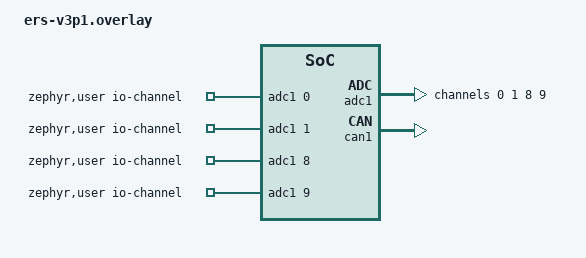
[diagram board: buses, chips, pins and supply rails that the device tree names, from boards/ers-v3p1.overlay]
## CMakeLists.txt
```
# Portland State Aerospace Society (c) 2025
#
# SPDX-License-Identifier: Apache-2.0

cmake_minimum_required(VERSION 3.20.0)

# execute_process(
#     COMMAND git rev-parse --show-toplevel
#     OUTPUT_VARIABLE ERS_REPO_ROOT
#     OUTPUT_STRIP_TRAILING_WHITESPACE
#     COMMAND_ERROR_IS_FATAL ANY
# )

set(CONF_FILE prj.conf ers-log-levels.conf)

find_package(Zephyr REQUIRED HINTS $ENV{ZEPHYR_BASE})
project(ers_drogue_board)

target_include_directories(app PRIVATE
    include
    # ${ERS_REPO_ROOT}/shell-module/include
    shell-module/include
)

target_sources(app PRIVATE
    src/adc.c
    src/can.c
    src/dac.c
    src/gpio-in.c
    src/keeper.c
    src/main.c
    src/shell-support.c
)
```

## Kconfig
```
module = ADC
module-str = ADC module for ERS firemware
source "subsys/logging/Kconfig.template.log_config"

module = ERS_ADC
module-str = ADC module for ERS firemware
source "subsys/logging/Kconfig.template.log_config"

# Following Kconfig inclusion needed to support Zephyr logging template macros
source "Kconfig.zephyr"

# ERS application specific
rsource "Kconfig.can"
```

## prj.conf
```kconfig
# PSAS Electromechanical Recovery System (ERS) firmware

CONFIG_GPIO=y
CONFIG_ADC=y

# CAN bus related
CONFIG_POLL=y
CONFIG_CAN=y
CONFIG_CAN_INIT_PRIORITY=80
CONFIG_CAN_MAX_FILTER=5

CONFIG_SHELL=y
CONFIG_CAN_SHELL=y
CONFIG_DEVICE_SHELL=y

CONFIG_STATS=y
CONFIG_STATS_NAMES=y
CONFIG_STATS_SHELL=y
CONFIG_CAN_STATS=y

CONFIG_LOOPBACK_MODE=n
CONFIG_SAMPLE_CAN_COUNTER_LOG_LEVEL_INF=y
```

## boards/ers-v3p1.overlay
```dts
/**
 * PSAS ERS board firmware
 */

&gpioa {
        status = "okay";
};

&gpiob {
        status = "okay";
};

/ {
        zephyr,user {
                /* adjust channel number according to pinmux in board.dts */
                io-channels = <&adc1 0>, <&adc1 1>, <&adc1 8>, <&adc1 9>; 
        };
};

&adc1 {
        #address-cells = <1>;
        #size-cells = <0>;

        channel@0 {
                reg = <0>;
                zephyr,gain = "ADC_GAIN_1";
                zephyr,reference = "ADC_REF_INTERNAL";
                zephyr,acquisition-time = <ADC_ACQ_TIME_DEFAULT>;
                zephyr,resolution = <12>;
        };

        channel@1 {
                reg = <1>;
                zephyr,gain = "ADC_GAIN_1";
                zephyr,reference = "ADC_REF_INTERNAL";
                zephyr,acquisition-time = <ADC_ACQ_TIME_DEFAULT>;
                zephyr,resolution = <12>;
        };

        channel@8 {
                reg = <8>;
                zephyr,gain = "ADC_GAIN_1";
                zephyr,reference = "ADC_REF_INTERNAL";
                zephyr,acquisition-time = <ADC_ACQ_TIME_DEFAULT>;
                zephyr,resolution = <12>;
        };

        channel@9 {
                reg = <9>;
                zephyr,gain = "ADC_GAIN_1";
                zephyr,reference = "ADC_REF_INTERNAL";
                zephyr,acquisition-time = <ADC_ACQ_TIME_DEFAULT>;
                zephyr,resolution = <12>;
        };
};

&can1 {
        status = "okay";
};

/ {
        zephyr,user {
                dac = <&dac1>;
                dac-channel-id = <1>;
                dac-resolution = <12>;
        };
};
```

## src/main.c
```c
/*
 * Copyright (c) 2025 Portland State Aerospace Society
 *
 * SPDX-License-Identifier: Apache-2.0
 */

#include <stdio.h>

#include <zephyr/kernel.h>
#include <zephyr/logging/log.h>

#include <arbiter.h>
#include <ers-adc.h>
#include <ers-can.h>
#include <ers-dac.h>
#include <gpio-in.h>
#include <keeper.h>
#include <shell-support.h>

LOG_MODULE_REGISTER(ers_main, LOG_LEVEL_INF);

//----------------------------------------------------------------------
// - SECTION - pound defines
//----------------------------------------------------------------------

#define ERS_MAIN_LOOP_PERIOD_MS 500

//----------------------------------------------------------------------
// - SECTION - routines
//----------------------------------------------------------------------

int main(void)
{
	static uint32_t loop_count = 0;
	int32_t rc = 0;

        rc = ers_init_gpio_in();
	LOG_INF("GPIO input pin initialization returns %d", rc);

	rc = adc_init();
	LOG_INF("ADC init code returns %d", rc);

	rc = ers_init_dac();
	LOG_INF("DAC init code returns %d", rc);

// TODO [ ] Create thread for CAN init routine which entails a `while (1)`
//  construct.
	rc = ers_init_can();
	LOG_INF("ERS CAN module init returns %d", rc);

        rc = ers_init_shell_support();
	LOG_INF("ERS command initialization returns %d", rc);

	rc = ers_init_arbiter();
	LOG_INF("ERS arbitration module init returns %d", rc);

	LOG_INF("main() entering 'while (1)' loop . . .");

	while (1)
	{
		loop_count++;
		ek_get_sys_diag_mode(&rc);
		if (rc > 0)
		{
			LOG_INF("- MARK -");
			// Note appears that a = hall1, b = hall2, c = battery, d = motor_isense
			uint32_t a, b, c, d;
			ekget_batt_read(&a);
			ekget_motor_isense(&b);
			ekget_hall_1(&c);
			ekget_hall_2(&d);
			LOG_INF("batt, motor, hall1, hall2: %u, %u, %u, %u", a, b, c, d);
		}
		k_msleep(ERS_MAIN_LOOP_PERIOD_MS);
	}

	return 0;
}
```

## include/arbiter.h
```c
#ifndef ERS_ARBITER_H
#define ERS_ARBITER_H

#include <zephyr/shell/shell.h>

enum hall_sensor_state {
	HALL_OUTPUT_UNDER_VOLTAGE,
	HALL_OUTPUT_INACTIVE,
	HALL_OUTPUT_BETWEEN,
	HALL_OUTPUT_ACTIVE,
	HALL_OUTPUT_OVER_VOLTAGE,
	HALL_OUTPUT_UNKNOWN
};

enum lock_ring_position {
	RING_LOCKED,
	RING_BETWEEN_L_AND_U,
	RING_UNLOCKED,
	RING_LOCKED_FULLY_QUALIFIED,
	RING_BETWEEN_FULLY_QUALIFIED,
	RING_UNLOCKED_FULLY_QUALIFIED,
	RING_POSITION_UNKNOWN
};

int32_t ers_init_arbiter(void);

void arbiter_set_v_under_cutoff(const uint32_t value);
void arbiter_set_inactive_cutoff(const uint32_t value);
void arbiter_set_between_cutoff(const uint32_t value);
void arbiter_set_active_cutoff(const uint32_t value);

void arbiter_get_v_under_cutoff(uint32_t *value);
void arbiter_get_inactive_cutoff(uint32_t *value);
void arbiter_get_between_cutoff(uint32_t *value);
void arbiter_get_active_cutoff(uint32_t *value);

void shell_wrapper_set_v_under_cutoff(const struct shell *shell, size_t argc, char **argv);
void shell_wrapper_set_inactive_cutoff(const struct shell *shell, size_t argc, char **argv);
void shell_wrapper_set_between_cutoff(const struct shell *shell, size_t argc, char **argv);
void shell_wrapper_set_active_cutoff(const struct shell *shell, size_t argc, char **argv);

void arbiter_show_hall_state_cutoffs(const struct shell *shell);

// TODO [ ] add API to restore default Hall state cutoff values

int32_t arbiter_determine_ring_state(enum lock_ring_position ring_position);

#endif // ERS_ARBITER_H
```

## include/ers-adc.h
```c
#ifndef ADC_INIT
#define ADC_INIT

#include <zephyr/shell/shell.h>

int32_t adc_init(void);

int32_t cmd_ers_read_adc_all(const struct shell *shell);

int32_t cmd_ers_read_adc_in0(const struct shell *shell);

#endif
```

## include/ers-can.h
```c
#ifndef ERS_CAN_INIT
#define ERS_CAN_INIT

int ers_init_can(void);

#endif // ERS_CAN_INIT
```

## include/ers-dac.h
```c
#ifndef ERS_DAC_H
#define ERS_DAC_H

int32_t ers_init_dac(void);

#endif // ERS_DAC_H
```

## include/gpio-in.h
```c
#ifndef GPIO_IN_H
#define GPIO_IN_H

int32_t ers_init_gpio_in(void);

#endif // GPIO_IN_H
```

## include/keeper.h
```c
#ifndef ERS_KEEPER_H
#define ERS_KEEPER_H

// Note, next two enumeration names refer to ADC values and not channels, as
// two values per active channel are stored:  (1) ADC counts and (2) reading
// converted to millivolts.

// Note, these enum values are used in a switch construct, so that they serve as
// something like an index.

enum ers_adc_values {
        ADC_READING_BATT_READ,
        ADC_READING_MOTOR_ISENSE,
        ADC_READING_HALL_1,
        ADC_READING_HALL_2,
        ADC_CHANNEL_COUNT
};

enum ers_adc_values_in_mv {
        ADC_READING_BATT_READ_MV = ADC_CHANNEL_COUNT,
        ADC_READING_MOTOR_ISENSE_MV,
        ADC_READING_HALL_1_MV,
        ADC_READING_HALL_2_MV,
};

#define IDX_START_MV_READINGS ADC_CHANNEL_COUNT

// Module init API

int32_t ers_init_keeper(void);

// Digital inputs

void ekset_iso_drogue(const uint32_t value);
void ekset_iso_main(const uint32_t value);
void ekset_not_umb_on(const uint32_t value);
void ekset_not_motor_faila(const uint32_t value);

void ekget_iso_drogue(uint32_t* value);
void ekget_iso_main(uint32_t* value);
void ekget_not_umb_on(uint32_t* value);
void ekget_not_motor_faila(uint32_t* value);

// Analog inputs

void ekset_batt_read(const uint32_t value);
void ekset_motor_isense(const uint32_t value);
void ekset_hall_1(const uint32_t value);
void ekset_hall_2(const uint32_t value);

void ekset_batt_read_mv(const uint32_t value);
void ekset_motor_isense_mv(const uint32_t value);
void ekset_hall_1_mv(const uint32_t value);
void ekset_hall_2_mv(const uint32_t value);

void ekset_batt_read_dv(const uint32_t value);

/**
 * @return 0 on success to obtain mutex and to set sensor values
 * @return -ESRCH when module not initialized
 */

int32_t ekset_both_hall_sensors(const uint32_t value_1, const uint32_t value_2);

/**
 * @brief API to set any one of ADC channel readings
 */

int32_t ekset_adc_value(const enum ers_adc_values idx, const uint32_t value);

/**
 * @brief API to set any one of ADC channel readings converted to millivolts
 */

int32_t ekset_adc_value_in_mv(const enum ers_adc_values_in_mv idx, const uint32_t val);

void ekget_batt_read(uint32_t* value);
void ekget_motor_isense(uint32_t* value);
void ekget_hall_1(uint32_t* value);
void ekget_hall_2(uint32_t* value);

void ekget_batt_read_mv(uint32_t* value);
void ekget_motor_isense_mv(uint32_t* value);
void ekget_hall_1_mv(uint32_t* value);
void ekget_hall_2_mv(uint32_t* value);

void ekget_batt_read_dv(uint32_t* value);

/**
 * @return 0 on success to obtain mutex and to get sensor values
 * @return -ESRCH when module not initialized
 */
int32_t ekget_both_hall_sensors(uint32_t *value_1, uint32_t *value_2);

// Off-chip peripherals and system statae

void ekset_ring_status(const uint32_t value);
void ekset_batt_ok(const uint32_t value);
void ekset_shore_power_ok(const uint32_t value);
void ekset_can_bus_ok(const uint32_t value);
void ekset_ready_state(const uint32_t value);

void ekget_ring_status(uint32_t* value);
void ekget_batt_ok(uint32_t* value);
void ekget_shore_power_ok(uint32_t* value);
void ekget_can_bus_ok(uint32_t* value);
void ekget_ready_state(uint32_t* value);

// ERS diagnostics

void ek_sys_diag_periodic(void);
void ek_sys_diag_quiet(void);
void ek_get_sys_diag_mode(uint32_t* value);

#endif // ERS_KEEPER_H
```

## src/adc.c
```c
/*
 * Copyright (c) 2020 Libre Solar Technologies GmbH
 * Copyright (c) 2025 Portland State Aerospace Society
 *
 * SPDX-License-Identifier: Apache-2.0
 */

#include <inttypes.h>
#include <stddef.h>
#include <stdint.h>

#include <zephyr/device.h>
#include <zephyr/devicetree.h>
#include <zephyr/drivers/adc.h>
#include <zephyr/kernel.h>
// #include <zephyr/sys/printk.h>
#include <zephyr/sys/util.h>
#include <zephyr/shell/shell.h>

#include <zephyr/logging/log.h>
LOG_MODULE_REGISTER(ers_adc, CONFIG_ERS_ADC_LOG_LEVEL);

#include "keeper.h"

//----------------------------------------------------------------------
// - SECTION - pound defines
//----------------------------------------------------------------------

#define ADC_THREAD_STACK_SIZE 512
#define ADC_THREAD_PRIORITY 3
#define ADC_READ_PERIOD_MS 10

#undef DEV_ERS_ADC_REGULAR_REPORTING

// #define ERS_ADC_READ_TIMEOUT 1500
// static struct k_timeout_t ers_adc_read_timeout K_MSEC(ERS_ADC_READ_TIMEOUT);

//----------------------------------------------------------------------
// - SECTION - file scoped
//----------------------------------------------------------------------

#if !DT_NODE_EXISTS(DT_PATH(zephyr_user)) || \
    !DT_NODE_HAS_PROP(DT_PATH(zephyr_user), io_channels)
#error "No suitable devicetree overlay specified"
#endif

#define DT_SPEC_AND_COMMA(node_id, prop, idx) \
    ADC_DT_SPEC_GET_BY_IDX(node_id, idx),

/* Data of ADC io-channels specified in devicetree. */
static const struct adc_dt_spec adc_channels[] = {
    DT_FOREACH_PROP_ELEM(DT_PATH(zephyr_user), io_channels,
                 DT_SPEC_AND_COMMA)
};

// TODO [ ] Compare thread configuration code in can.c with what is here:
struct k_thread adc_thread_data;

K_THREAD_STACK_DEFINE(adc_thread_stack, ADC_THREAD_STACK_SIZE);

struct k_mutex adc_mtx;

static uint32_t hall_adc_count_1_fs = 0;
static uint32_t hall_adc_count_2_fs = 0;

//----------------------------------------------------------------------
// - SECTION - routines
//----------------------------------------------------------------------

int32_t cmd_ers_read_adc_in0(const struct shell *shell)
{
	shell_fprintf(shell, SHELL_NORMAL, "stub function for read ADC in0\n");
        return 0;
}

// TODO [x] Amend the "read ADC all" command to accept a range of channels,
//   to support the reading of one channel with the same routine.

// TODO [ ] Add local static vars for Hall sensor readings, so they may be
//   passed as a pair to keeper module.

int32_t adc_read_channels(const enum ers_adc_values idx_begin,
			  const enum ers_adc_values idx_end)
{
        int32_t rc = k_mutex_lock(&adc_mtx, K_MSEC(1500));
	if (rc != 0)
	{
		LOG_ERR("Failed to lock ADC read channels mutex, error %d", rc);
		return rc;
	}

	if ((idx_begin < 0) || (idx_end > ARRAY_SIZE(adc_channels)))
	{
		LOG_ERR("Asked to read ADC channel out of range!");
		LOG_ERR("One of begin %d and end %d out of range %d..%d",
			idx_begin, idx_end, 0, ARRAY_SIZE(adc_channels));
		return -EINVAL;
	}

        uint32_t count = 0;
        uint16_t buf;
        struct adc_sequence sequence = { 
                .buffer = &buf,
                /* buffer size in bytes, not number of samples */
                .buffer_size = sizeof(buf),
        };

#if DEV_ERS_ADC_REGULAR_REPORTING
        LOG_INF("ADC reading[%u]:", count++);
#endif
        for (size_t i = 0U; i < ARRAY_SIZE(adc_channels); i++)
        {
                int32_t val_mv;

#if DEV_ERS_ADC_REGULAR_REPORTING
                LOG_INF("- %s, channel %d: ",
                             adc_channels[i].dev->name,
                             adc_channels[i].channel_id);
#endif

                (void)adc_sequence_init_dt(&adc_channels[i], &sequence);

                rc = adc_read_dt(&adc_channels[i], &sequence);
                if (rc < 0)
                {
                        LOG_ERR("Could not read ADC channel, error (%d)", rc);
                        continue;
                }

		// Store ADC reading in ERS app "keeper" module:
		ekset_adc_value(i, (uint32_t)buf);

                /*
                 * If using differential mode, the 16 bit value
                 * in the ADC sample buffer should be a signed 2's
                 * complement value.
                 */
                if (adc_channels[i].channel_cfg.differential)
                {
                        val_mv = (int32_t)((int16_t)buf);
                }
                else
                {
                        val_mv = (int32_t)buf;
                }

#if DEV_ERS_ADC_REGULAR_REPORTING
                LOG_INF("%"PRId32, val_mv);
#endif
                rc = adc_raw_to_millivolts_dt(&adc_channels[i], &val_mv);
                /* conversion to mV may not be supported, skip if not */
                if (rc < 0)
                {
                        LOG_WRN(" (value in mV not available)");
                }
                else
                {
			// Store ADC reading in ERS app "keeper" module:
			ekset_adc_value_in_mv((i + IDX_START_MV_READINGS), (uint32_t)buf);
#if DEV_ERS_ADC_REGULAR_REPORTING
                        LOG_INF(" = %"PRId32" mV", val_mv);
#endif
		}
	}

        rc = k_mutex_unlock(&adc_mtx);
	if (rc != 0)
	{
		LOG_ERR("Failed to unlock ADC read channels mutex, error %d", rc);
		return rc;
	}

	return rc;
}

void adc_thread_entry(void *arg1, void *arg2, void *arg3)
{
        ARG_UNUSED(arg1);
        ARG_UNUSED(arg2);
        ARG_UNUSED(arg3);

        int32_t rc = 0;

        /* Configure channels individually prior to sampling. */
        for (size_t i = 0U; i < ARRAY_SIZE(adc_channels); i++)
        {
                if (!adc_is_ready_dt(&adc_channels[i])) {
                        LOG_ERR("ADC controller device %s not ready\n", adc_channels[i].dev->name);
                        rc = -ENODEV;
                }

                rc = adc_channel_setup_dt(&adc_channels[i]);
                if (rc < 0) {
                        LOG_ERR("Could not setup channel #%d (%d)\n", i, rc);
                        rc = -EINVAL;
                }
        }

        while (1)
        {
#if DEV_ERS_ADC_REGULAR_REPORTING
                LOG_INF("ADC reading[%u]: (thread entry function)\n", count++);
#endif
		rc = adc_read_channels(ADC_READING_BATT_READ, ADC_READING_HALL_2);
                k_sleep(K_MSEC(ADC_READ_PERIOD_MS));
        }
}

int32_t adc_init(void)
{
	int32_t rc = 0;

	k_mutex_init(&adc_mtx);

        /* Configure channels individually prior to sampling. */
        for (size_t i = 0U; i < ARRAY_SIZE(adc_channels); i++) {
                if (!adc_is_ready_dt(&adc_channels[i])) {
                        LOG_ERR("ADC controller device %s not ready",
                                     adc_channels[i].dev->name);
                        rc = -ENODEV;
                }

                rc = adc_channel_setup_dt(&adc_channels[i]);
                if (rc < 0) {
                        LOG_ERR("Could not setup channel #%d (%d)", i, rc);
                        rc = -EINVAL;
                }
        }

	k_tid_t adc_tid = k_thread_create(&adc_thread_data, adc_thread_stack,
					  K_THREAD_STACK_SIZEOF(adc_thread_stack),
					  adc_thread_entry, NULL, NULL, NULL,
					  ADC_THREAD_PRIORITY, 0, K_NO_WAIT);
	if (!adc_tid)
	{
		LOG_ERR("ERROR spawning ADC thread\n");
	}
	else
	{
		LOG_INF("starting ADC thread . . .");
	}

	return rc;
}
```

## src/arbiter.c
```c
/*
 * Copyright (c) 2025 Portland State Aerospace Society
 *
 * SPDX-License-Identifier: Apache-2.0
 */

#include <stdlib.h>

#include <zephyr/kernel.h>
#include <zephyr/logging/log.h>
#include <zephyr/shell/shell.h>

LOG_MODULE_REGISTER(arbiter, LOG_LEVEL_INF);

#include <ers-can.h>
#include <ers-dac.h>
#include <gpio-in.h>
#include <keeper.h>
#include <arbiter.h>

//----------------------------------------------------------------------
// - SECTION - defines
//----------------------------------------------------------------------

/*
        Hall2 |
 Hall1        |   Over     Active    Between   Inactive    Under
--------------+------------------------------------------------------
Over          |   error    locked    betwen    unlocked    error
Active        |  unlocked   error    between   UNLOCKED   unlocked
Between       |   between  between   BETWEEN    between    between
Unactive      |   locked    LOCKED   between     error     locked
Under         |   error     locked   between   unlocked     error

ADC channels are 12-bit, hence ADC counts range 0..4095.  Define
"Under" through "Over" subranges:
*/

// clang-format off
// Note these values from Hessah of PSAS, cerca 2025-09-25.  Set of like data
// points from a second tested ERS board differ.
#define HALL_READING_V_UNDER_CUTOFF   600
#define HALL_READING_INACTIVE_CUTOFF  700
#define HALL_READING_BETWEEN_CUTOFF  1600
#define HALL_READING_ACTIVE_CUTOFF   3100
// ADC Hall sensor readings above HALL_READING_ACTIVE_CUTOFF considered "Over".
// clang-format on

#define BASE_10 10

#define ERS_ARBITER_SLEEP_PER_MS 2000

//----------------------------------------------------------------------
// - SECTION - file scoped
//----------------------------------------------------------------------

#define ARBITER_THREAD_STACK_SIZE 512
#define ARBITER_THREAD_PRIORITY 1
K_THREAD_STACK_DEFINE(arbiter_thread_stack, ARBITER_THREAD_STACK_SIZE);
struct k_thread arbiter_thread_data;

static atomic_t hall_reading_v_under_cutoff_fs = ATOMIC_INIT(HALL_READING_V_UNDER_CUTOFF);
static atomic_t hall_reading_inactive_cutoff_fs = ATOMIC_INIT(HALL_READING_INACTIVE_CUTOFF);
static atomic_t hall_reading_between_cutoff_fs = ATOMIC_INIT(HALL_READING_BETWEEN_CUTOFF);
static atomic_t hall_reading_active_cutoff_fs = ATOMIC_INIT(HALL_READING_ACTIVE_CUTOFF);

void arbiter_set_hall_state_cutoff_defaults(void);

//----------------------------------------------------------------------
// - SECTION - routines
//----------------------------------------------------------------------

// Routines to accept and store Hall sensor threasholds, such as under voltage.

// Setter functions for hall state cutuffs:

void arbiter_set_v_under_cutoff(const uint32_t value)
{
	atomic_set(&hall_reading_v_under_cutoff_fs, (atomic_val_t)value);
}

void arbiter_set_inactive_cutoff(const uint32_t value)
{
	atomic_set(&hall_reading_inactive_cutoff_fs, (atomic_val_t)value);
}

void arbiter_set_between_cutoff(const uint32_t value)
{
	atomic_set(&hall_reading_between_cutoff_fs, (atomic_val_t)value);
}

void arbiter_set_active_cutoff(const uint32_t value)
{
	atomic_set(&hall_reading_active_cutoff_fs, (atomic_val_t)value);
}

// TODO [ ] Add check of 'endptr' to determine whether we got valid numeric input,
//  in all routines which call strtol():

void shell_wrapper_set_v_under_cutoff(const struct shell *shell, size_t argc, char **argv)
{
	uint32_t value = 0;
	char *endptr, *str;
	str = argv[1];
	value = strtol(str, &endptr, BASE_10);
	shell_fprintf(shell, SHELL_NORMAL, "from user got v_under_cutoff of %u\n",
		      value);
	arbiter_set_v_under_cutoff(value);
}

void shell_wrapper_set_inactive_cutoff(const struct shell *shell, size_t argc, char **argv)
{
	uint32_t value = 0;
	char *endptr, *str;
	str = argv[1];
	value = strtol(str, &endptr, BASE_10);
	arbiter_set_inactive_cutoff(value);
}

void shell_wrapper_set_between_cutoff(const struct shell *shell, size_t argc, char **argv)
{
	uint32_t value = 0;
	char *endptr, *str;
	str = argv[1];
	value = strtol(str, &endptr, BASE_10);
	arbiter_set_between_cutoff(value);
}

void shell_wrapper_set_active_cutoff(const struct shell *shell, size_t argc, char **argv)
{
	uint32_t value = 0;
	char *endptr, *str;
	str = argv[1];
	value = strtol(str, &endptr, BASE_10);
	arbiter_set_active_cutoff(value);
}

// Getter functions for hall state cutuffs:

void arbiter_get_v_under_cutoff(uint32_t *value)
{
	*value = atomic_get(&hall_reading_v_under_cutoff_fs);
}

void arbiter_get_inactive_cutoff(uint32_t *value)
{
	*value = atomic_get(&hall_reading_inactive_cutoff_fs);
}

void arbiter_get_between_cutoff(uint32_t *value)
{
	*value = atomic_get(&hall_reading_between_cutoff_fs);
}

void arbiter_get_active_cutoff(uint32_t *value)
{
	*value = atomic_get(&hall_reading_active_cutoff_fs);
}

/**
 * @brief Routine to report Hall sensor state cutoff values (in ADC counts).
 */

void arbiter_show_hall_state_cutoffs(const struct shell *shell)
{
	uint32_t v_under_cutoff, inactive_cutoff, between_cutoff, active_cutoff;

	arbiter_get_v_under_cutoff(&v_under_cutoff);
	arbiter_get_inactive_cutoff(&inactive_cutoff);
	arbiter_get_between_cutoff(&between_cutoff);
	arbiter_get_active_cutoff(&active_cutoff);

	shell_fprintf(shell, SHELL_NORMAL, "Hall sensor state cutoff values (in ADC "
	  "counts):\n");
	shell_fprintf(shell, SHELL_NORMAL, "  v under cutoff: %u\n", v_under_cutoff);
	shell_fprintf(shell, SHELL_NORMAL, " inactive cutoff: %u\n", inactive_cutoff);
	shell_fprintf(shell, SHELL_NORMAL, "  between cutoff: %u\n", between_cutoff);
	shell_fprintf(shell, SHELL_NORMAL, "   active cutoff: %u\n", active_cutoff);
}

/**
 * @brief Routine to categorize ADC readings of lock ring Hall sensor into one
 *   of five states.
 */

enum hall_sensor_state adc_reading_to_hall_state(const uint32_t adc_reading)
{
	enum hall_sensor_state sensor_state = HALL_OUTPUT_OVER_VOLTAGE;

	if (adc_reading < HALL_READING_V_UNDER_CUTOFF)
	{
		sensor_state = HALL_OUTPUT_UNDER_VOLTAGE;
	}

	if (adc_reading < HALL_READING_INACTIVE_CUTOFF)
	{
		sensor_state = HALL_OUTPUT_INACTIVE;
	}

	if (adc_reading < HALL_READING_BETWEEN_CUTOFF)
	{
		sensor_state = HALL_OUTPUT_BETWEEN;
	}

	if (adc_reading < HALL_READING_ACTIVE_CUTOFF)
	{
		sensor_state = HALL_OUTPUT_ACTIVE;
	}

	return sensor_state;
}

/**
 * @brief Routine to determine lock ring position.
 *
 * @note Calling code is responsible for setting parameter ring_position to
 *    a sensible starting value, namely 'RING_POSITION_UNKNOWN'.
 */

int32_t arbiter_determine_ring_state(enum lock_ring_position *ring_position)
{
	int32_t rc = 0;
	uint32_t hall_1_reading = 0;
	uint32_t hall_2_reading = 0;
	enum hall_sensor_state hall_1_state = HALL_OUTPUT_UNKNOWN;
	enum hall_sensor_state hall_2_state = HALL_OUTPUT_UNKNOWN;

	rc = ekget_both_hall_sensors(&hall_1_reading, &hall_1_reading);
	if (rc != 0)
	{
		LOG_ERR("determine ring position could not get hall readings, error %d", rc);
		goto done;
	}

	hall_1_state = adc_reading_to_hall_state(hall_1_reading);
	hall_2_state = adc_reading_to_hall_state(hall_2_reading);

/*
   Hall2   Vun   Ina   Bet   Act   Ovr 
Hall1     ----- ----- ----- ----- -----
-----
 Vun        x     U     B     L     x   
 Ina        L     x     B     Lf    L   
 Bet        B     B     Bf    B     B   
 Act        U     Uf    B     x     U   
 Ovr        x     U     B     L     x

Note Uf, Bf, Lf are fully qualified unlocked, in between and lock ring position
determinations.
*/

	// Look for possible "between" sensor values pairs first:
	if ((hall_1_state == HALL_OUTPUT_BETWEEN) || (hall_2_state == HALL_OUTPUT_BETWEEN))
	{
		*ring_position = RING_BETWEEN_L_AND_U;
		goto qualify_validity;
	}

	// Cover error possibilities:
	if (hall_1_state == hall_2_state)
	{
		*ring_position = RING_POSITION_UNKNOWN;
		goto done;
	}

	// Cover row "Ina" locked positions with partial validity:
	if ((hall_1_state == HALL_OUTPUT_INACTIVE) &&
	    ((hall_2_state == HALL_OUTPUT_UNDER_VOLTAGE) ||
	     (hall_2_state == HALL_OUTPUT_OVER_VOLTAGE)))
	{
		*ring_position = RING_LOCKED;
		goto done;
	}

	// Cover column "Ina" unlocked positions with partial validity:
	if ((hall_2_state == HALL_OUTPUT_INACTIVE) &&
	    ((hall_1_state == HALL_OUTPUT_UNDER_VOLTAGE) ||
	     (hall_1_state == HALL_OUTPUT_OVER_VOLTAGE)))
	{
		*ring_position = RING_UNLOCKED;
		goto done;
	}

	// Cover row "Act" unlocked positions with partial validity:
	if ((hall_1_state == HALL_OUTPUT_INACTIVE) &&
	    ((hall_2_state == HALL_OUTPUT_UNDER_VOLTAGE) ||
	     (hall_2_state == HALL_OUTPUT_OVER_VOLTAGE)))
	{
		*ring_position = RING_UNLOCKED;
		goto done;
	}

	// Cover column "Act" locked positions with partial validity:
	if ((hall_2_state == HALL_OUTPUT_ACTIVE) &&
	    ((hall_1_state == HALL_OUTPUT_UNDER_VOLTAGE) ||
	     (hall_1_state == HALL_OUTPUT_OVER_VOLTAGE)))
	{
		*ring_position = RING_LOCKED;
		goto done;
	}

qualify_validity:
	if ((hall_1_state == HALL_OUTPUT_BETWEEN) && (hall_2_state == HALL_OUTPUT_BETWEEN))
	{
		*ring_position = RING_BETWEEN_FULLY_QUALIFIED;
	}

	if ((hall_1_state == HALL_OUTPUT_ACTIVE) && (hall_2_state == HALL_OUTPUT_INACTIVE))
	{
		*ring_position = RING_UNLOCKED_FULLY_QUALIFIED;
	}

	if ((hall_1_state == HALL_OUTPUT_INACTIVE) && (hall_2_state == HALL_OUTPUT_ACTIVE))
	{
		*ring_position = RING_LOCKED_FULLY_QUALIFIED;
	}

done:
	return rc;
}

char *ring_pos_to_str(enum lock_ring_position pos)
{
        switch (pos) {
        case RING_LOCKED:
                return "ring locked";
        case RING_BETWEEN_L_AND_U:
                return "ring between";
        case RING_UNLOCKED:
                return "ring unlocked";
        case RING_LOCKED_FULLY_QUALIFIED:
                return "ring locked (fully qualified)";
        case RING_BETWEEN_FULLY_QUALIFIED:
                return "ring between (fully qualified)";
        case RING_UNLOCKED_FULLY_QUALIFIED:
                return "ring unlocked (fully qualified)";
	case RING_POSITION_UNKNOWN:
        default:
                return "ring position unknown";
        }
}

void arbiter_thread_entry(void *arg1, void *arg2, void *arg3)
{
        ARG_UNUSED(arg1);
        ARG_UNUSED(arg2);
        ARG_UNUSED(arg3);

	static uint32_t loop_count = 0;
	enum lock_ring_position ring_position = RING_POSITION_UNKNOWN;
	int32_t rc = 0;

	while (1)
	{
		// LOG_INF("M3");
#if 0
		LOG_INF("setting deploy1 GPIO to %d", (loop_count % 2));
		rc = ers_gpios_set_deploy1(loop_count % 2);
		LOG_INF("GPIO set returns status %d", rc);
		rc = ers_gpios_set_deploy2((loop_count + 1) % 2);
		LOG_INF("GPIO set returns status %d", rc);
#endif

// TODO [x] Call ring state determination code
		rc = arbiter_determine_ring_state(&ring_position);
		// LOG_INF("Current lock ring position:  %d", ring_position);

// TODO [ ] Call battery state determination code

		loop_count++;
		k_msleep(ERS_ARBITER_SLEEP_PER_MS);
	}
}

void arbiter_set_hall_state_cutoff_defaults(void)
{
	arbiter_set_v_under_cutoff(HALL_READING_V_UNDER_CUTOFF);
	arbiter_set_inactive_cutoff(HALL_READING_INACTIVE_CUTOFF);
	arbiter_set_between_cutoff(HALL_READING_BETWEEN_CUTOFF);
	arbiter_set_active_cutoff(HALL_READING_ACTIVE_CUTOFF);
}

int32_t ers_init_arbiter(void)
{
	int32_t rc = 0;

	// Initialize Hall sensor ADC count threshold values:
	// (These values used to determine practical Hall sensor states)
	arbiter_set_hall_state_cutoff_defaults();

	k_tid_t arbiter_tid = k_thread_create(&arbiter_thread_data, arbiter_thread_stack,
					K_THREAD_STACK_SIZEOF(arbiter_thread_stack),
					arbiter_thread_entry, NULL, NULL, NULL,
				 	ARBITER_THREAD_PRIORITY, 0, K_NO_WAIT);
	if (!arbiter_tid) {
		LOG_ERR("ERROR spawning arbiter thread\n");
	}

	return rc;
}
```

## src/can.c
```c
/*
 * Copyright (c) 2025 Portland State Aerospace Society
 *
 * SPDX-License-Identifier: Apache-2.0
 */

#include <stdio.h>

#include <zephyr/kernel.h>
#include <zephyr/device.h>
#include <zephyr/drivers/can.h>
#include <zephyr/drivers/gpio.h>
#include <zephyr/sys/byteorder.h>

#include <zephyr/devicetree.h>

#include <zephyr/logging/log.h>
LOG_MODULE_REGISTER(can_counter, CONFIG_SAMPLE_CAN_COUNTER_LOG_LEVEL);

#include <keeper.h>

#define RX_THREAD_STACK_SIZE 512
#define RX_THREAD_PRIORITY 2
K_THREAD_STACK_DEFINE(rx_thread_stack, RX_THREAD_STACK_SIZE);
struct k_thread rx_thread_data;

#define STATE_POLL_THREAD_STACK_SIZE 512
#define STATE_POLL_THREAD_PRIORITY 2
K_THREAD_STACK_DEFINE(poll_state_stack, STATE_POLL_THREAD_STACK_SIZE);
struct k_thread poll_state_thread_data;

#define LED_MSG_ID 0x10
#define COUNTER_MSG_ID 0x12345
#define SET_LED 1
#define RESET_LED 0

#define SLEEP_TIME K_MSEC(250)

/**
 * @note CAN frame ids for ERS:  while ERS sender won't listen for
 *   ERS drogue board CAN heartbeat nor ERS main board heartbeat, we
 *   include these message ids with the plan that one firmware project
 *   will include a build time flag to select the ids needed by each of
 *   three ERS firmwares, which are much more alike than different.
 */

// clang-format off
#define MSG_ID_TELEMETRUM_SENDER   0x700
#define MSG_ID_DROGUE_HEARTBEAT    0x710
#define MSG_ID_MAIN_HEARTBEAT      0x720
#define MSG_ID_UNLOCK_DROGUE_CHUTE 0x100
#define MSG_ID_UNLOCK_MAIN_CHUTE   0x200
// clang-format on

// TODO [ ] Come up with some pound defines or similar to select a status
//  message ID for the ERS firmware variant needed:

// #if ERS_BOARD_VARIANT == ERS_DROGUE_CHUTE_CONTROLLER . . .
#define MSG_ID_STATUS_AND_HEARTBEAT MSG_ID_DROGUE_HEARTBEAT

#define HEARTBEAT_PERIOD_S 1
#define CAN_BUS_CHECK_PER_S 2

//----------------------------------------------------------------------
// - SECTION - file scoped
//----------------------------------------------------------------------

const struct device *const can_dev = DEVICE_DT_GET(DT_CHOSEN(zephyr_canbus));
struct gpio_dt_spec led = GPIO_DT_SPEC_GET_OR(DT_ALIAS(led0), gpios, {0});

struct k_work_poll change_led_work;
struct k_work state_change_work;
enum can_state current_state;
struct can_bus_err_cnt current_err_cnt;

// TODO [ ] Review whether both of these message queues needed:
CAN_MSGQ_DEFINE(change_led_msgq, 2);
CAN_MSGQ_DEFINE(counter_msgq, 2);

enum ers_state_var_indeces {
	IDX_TELEMETRUM_STATE,
	IDX_BATT_READ,
	IDX_BATT_OK,
	IDX_SHORE_POW_STATUS,
	IDX_CAN_BUS_OK,
	IDX_ERS_STATUS,
	IDX_ROCKET_READY,
	IDX_RESERVED,
	IDX_STATE_VAR_LAST_ELEMENT
};

static uint8_t ers_state_vars_fs[IDX_STATE_VAR_LAST_ELEMENT] = {0};

//----------------------------------------------------------------------
// - SECTION - routines
//----------------------------------------------------------------------

void clear_flag_can_ok_work_handler(struct k_work *work)
{
    /* do the processing that needs to be done periodically */
    // LOG_INF("CAN module timer expired!");
    // TODO [ ] Add application state flag to keeper module to hold "CAN bus ok" status
}

K_WORK_DEFINE(clear_flag_can_ok_work, clear_flag_can_ok_work_handler);

void my_timer_handler(struct k_timer *dummy)
{
	k_work_submit(&clear_flag_can_ok_work);
}

K_TIMER_DEFINE(my_timer, my_timer_handler, NULL);

/**
 * @brief IRQ callback to provide to can_send() API.
 *
 * @note Different calls to can_send() may likely need distinct callbacks.
 *
 * @note This detail learned from Zephyr sample app, by Alexander Wachter
 *   from Zephyr 3.7.1, copyright 2018.
 */

void tx_irq_callback(const struct device *dev, int error, void *arg)
{
        char *sender = (char *)arg;

        ARG_UNUSED(dev);

        if (error != 0) {
                LOG_ERR("Callback! error-code: %d   Sender: %s",
                       error, sender);
        }
}

void prep_and_send_status_frame_work_handler(struct k_work *work)
{
	// LOG_INF("preparing status message, data length is %d", sizeof(ers_state_vars_fs));

        struct can_frame ers_status_frame = {
                .flags = 0,
                .id = MSG_ID_STATUS_AND_HEARTBEAT,
                .dlc = sizeof(ers_state_vars_fs)
        };

	uint32_t battery_voltage = 0;
	ekget_batt_read_dv(&battery_voltage);

	ers_state_vars_fs[IDX_TELEMETRUM_STATE] = 0;
	ers_state_vars_fs[IDX_BATT_READ] = battery_voltage;
	ers_state_vars_fs[IDX_BATT_OK] = 0;
	ers_state_vars_fs[IDX_SHORE_POW_STATUS] = 0;
	ers_state_vars_fs[IDX_CAN_BUS_OK] = 0;
	ers_state_vars_fs[IDX_ERS_STATUS] = 0;
	ers_state_vars_fs[IDX_ROCKET_READY] = 0;
	ers_state_vars_fs[IDX_RESERVED] = 0;

	memcpy(ers_status_frame.data, ers_state_vars_fs, sizeof(ers_state_vars_fs));

	can_send(can_dev, &ers_status_frame, K_FOREVER,
		 tx_irq_callback,
		 "ERS status frame");
}

K_WORK_DEFINE(prep_and_send_status_frame_work, prep_and_send_status_frame_work_handler);

void heartbeat_timer_handler(struct k_timer *dummy)
{
	k_work_submit(&prep_and_send_status_frame_work);
}

K_TIMER_DEFINE(heartbeat_timer, heartbeat_timer_handler, NULL);


void rx_thread_entry(void *arg1, void *arg2, void *arg3)
{
	ARG_UNUSED(arg1);
	ARG_UNUSED(arg2);
	ARG_UNUSED(arg3);

	const struct can_filter filter_sender_heartbeat = {
		.flags = CAN_FILTER_IDE,
		.id = MSG_ID_TELEMETRUM_SENDER,
		.mask = CAN_EXT_ID_MASK
	};

	const struct can_filter filter_drogue_heartbeat = {
		.flags = CAN_FILTER_IDE,
		.id = MSG_ID_DROGUE_HEARTBEAT,
		.mask = CAN_EXT_ID_MASK
	};

	const struct can_filter filter_main_heartbeat = {
		.flags = CAN_FILTER_IDE,
		.id = MSG_ID_MAIN_HEARTBEAT,
		.mask = CAN_EXT_ID_MASK
	};

	struct can_frame frame;
	int filter_id;

	filter_id = can_add_rx_filter_msgq(can_dev, &counter_msgq, &filter_sender_heartbeat);
	filter_id = can_add_rx_filter_msgq(can_dev, &counter_msgq, &filter_drogue_heartbeat);
	filter_id = can_add_rx_filter_msgq(can_dev, &counter_msgq, &filter_main_heartbeat);

	while (1) {
		k_msgq_get(&counter_msgq, &frame, K_FOREVER);

		if (IS_ENABLED(CONFIG_CAN_ACCEPT_RTR) && (frame.flags & CAN_FRAME_RTR) != 0U) {
			LOG_INF("M1");
			continue;
		}

#if 1
		if (frame.id == MSG_ID_TELEMETRUM_SENDER) {
			k_timer_start(&my_timer, K_SECONDS(2), K_SECONDS(2));
			LOG_INF("RX %X - telemetrum heartbeat", frame.id);
		}
#endif

#if 0
		switch (frame.id)
		{
		case MSG_ID_TELEMETRUM_SENDER:
			LOG_INF("RX %X - telemetrum heartbeat", frame.id);
			break;
		case MSG_ID_DROGUE_HEARTBEAT:
			LOG_INF("RX %X - drogue chute heartbeat", frame.id);
			break;
		case MSG_ID_MAIN_HEARTBEAT:
			LOG_INF("RX %X - main chute heartbeat", frame.id);
			break;
		case MSG_ID_UNLOCK_DROGUE_CHUTE:
			LOG_INF("RX %X - unlock drogue chute", frame.id);
			break;
		case MSG_ID_UNLOCK_MAIN_CHUTE:
			LOG_INF("RX %X - unlock main chute", frame.id);
			break;
		default:
		}
#endif
	}
}

char *state_to_str(enum can_state state)
{
	switch (state) {
	case CAN_STATE_ERROR_ACTIVE:
		return "error-active";
	case CAN_STATE_ERROR_WARNING:
		return "error-warning";
	case CAN_STATE_ERROR_PASSIVE:
		return "error-passive";
	case CAN_STATE_BUS_OFF:
		return "bus-off";
	case CAN_STATE_STOPPED:
		return "stopped";
	default:
		return "unknown";
	}
}

int32_t ers_init_can(void)
{
	int32_t rc = 0;
	k_tid_t rx_tid;

	if (!device_is_ready(can_dev)) {
		LOG_ERR("CAN: Device %s not ready.", can_dev->name);
		return -ENODEV;
	}

// TODO [ ] Learn how to set CAN bus bit rate in Zephyr app.  Following API
//   did not seem to be available:
#if 0
	ret = can_set_bitrate_data(can_dev, 500000);
	if (ret != 0) {
		LOG_ERR("Failed to set CAN bitrate, error %d]", ret);
		return 0;
	}
#endif

	rc = can_start(can_dev);
	if (rc != 0) {
		LOG_ERR("Error starting CAN controller [%d]", rc);
		return -EAGAIN;
	}

	k_timer_start(&my_timer, K_SECONDS(CAN_BUS_CHECK_PER_S), K_SECONDS(CAN_BUS_CHECK_PER_S));

	k_timer_start(&heartbeat_timer, K_SECONDS(HEARTBEAT_PERIOD_S), K_SECONDS(HEARTBEAT_PERIOD_S));

	rx_tid = k_thread_create(&rx_thread_data, rx_thread_stack,
				 K_THREAD_STACK_SIZEOF(rx_thread_stack),
				 rx_thread_entry, NULL, NULL, NULL,
				 RX_THREAD_PRIORITY, 0, K_NO_WAIT);
	if (!rx_tid) {
		LOG_ERR("ERROR spawning rx thread");
	}

	return rc;
}
```

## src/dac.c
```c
/*
 * Copyright (c) 2025 Portland State Aerospace Society
 *
 * SPDX-License-Identifier: Apache-2.0
 *
 * @note Parts of this code copied from Zephyr 3.7.1 DAC sample app.
 */

#include <zephyr/kernel.h>
#include <zephyr/drivers/dac.h>
#include <zephyr/logging/log.h>

LOG_MODULE_REGISTER(ers_dac, LOG_LEVEL_INF);

#define ZEPHYR_USER_NODE DT_PATH(zephyr_user)

#if (DT_NODE_HAS_PROP(ZEPHYR_USER_NODE, dac) && \
	DT_NODE_HAS_PROP(ZEPHYR_USER_NODE, dac_channel_id) && \
	DT_NODE_HAS_PROP(ZEPHYR_USER_NODE, dac_resolution))
#define DAC_NODE DT_PHANDLE(ZEPHYR_USER_NODE, dac)
#define DAC_CHANNEL_ID DT_PROP(ZEPHYR_USER_NODE, dac_channel_id)
#define DAC_RESOLUTION DT_PROP(ZEPHYR_USER_NODE, dac_resolution)
#else
#error "Unsupported board: see README and check /zephyr,user node"
#define DAC_NODE DT_INVALID_NODE
#define DAC_CHANNEL_ID 0
#define DAC_RESOLUTION 0
#endif

static const struct device *const dac_dev = DEVICE_DT_GET(DAC_NODE);

static const struct dac_channel_cfg dac_ch_cfg = { 
	.channel_id  = DAC_CHANNEL_ID,
	.resolution  = DAC_RESOLUTION,
	.buffered = true
};

int32_t ers_init_dac(void)
{
	int32_t rc = 0;

	if (!device_is_ready(dac_dev)) {
		LOG_ERR("DAC device %s is not ready", dac_dev->name);
		return -ENODEV;
	}

	rc = dac_channel_setup(dac_dev, &dac_ch_cfg);

	if (rc != 0) {
		LOG_ERR("Setting up of DAC channel failed with code %d", rc);
		return -EIO;
	}

	LOG_INF("Ready to produce signal on DAC channel %d.",
		DAC_CHANNEL_ID);


	return rc;
}
```

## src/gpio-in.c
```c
/*
 * SPDX-License-Identifier: Apache-2.0
 */

#include <zephyr/kernel.h>
#include <zephyr/device.h>
#include <zephyr/drivers/gpio.h>
#include <zephyr/sys/util.h>
// #include <zephyr/sys/printk.h>
#include <inttypes.h>

#include <zephyr/logging/log.h>
LOG_MODULE_REGISTER(gpio_in, LOG_LEVEL_INF);

#include <keeper.h>

//----------------------------------------------------------------------
// - SECTION - pound defines
//----------------------------------------------------------------------

#define ERS_GPIO_THREAD_SLEEP_MS 12000

//----------------------------------------------------------------------
// - SECTION - file scoped
//----------------------------------------------------------------------

#define SW0_NODE DT_ALIAS(sw0)
#if !DT_NODE_HAS_STATUS(SW0_NODE, okay)
#error "Unsupported board: sw0 devicetree alias is not defined"
#endif
static const struct gpio_dt_spec iso_drogue = GPIO_DT_SPEC_GET_OR(SW0_NODE, gpios, {0});

#define SW1_NODE DT_ALIAS(sw1)
#if !DT_NODE_HAS_STATUS(SW1_NODE, okay)
#error "Unsupported board: sw1 devicetree alias is not defined"
#endif
static const struct gpio_dt_spec iso_main = GPIO_DT_SPEC_GET_OR(SW1_NODE, gpios, {0});

#define SW2_NODE DT_ALIAS(sw2)
#if !DT_NODE_HAS_STATUS(SW2_NODE, okay)
#error "Unsupported board: sw2 devicetree alias is not defined"
#endif
static const struct gpio_dt_spec not_umb_on = GPIO_DT_SPEC_GET_OR(SW2_NODE, gpios, {0});

#define SW3_NODE DT_ALIAS(sw3)
#if !DT_NODE_HAS_STATUS(SW3_NODE, okay)
#error "Unsupported board: sw3 devicetree alias is not defined"
#endif
static const struct gpio_dt_spec not_motor_faila = GPIO_DT_SPEC_GET_OR(SW3_NODE, gpios, {0});

// TODO [ ] Firgure out how best to utilize GPIO event driven interrupts,
//   since we'll be starting out with a thread to periodically read GPIOs
//   Maybe we can do away with such a thread, or have it at least not poll?
//   Going to try both ways to see what is most simple sufficient solution.

static struct gpio_callback pin_iso_drogue_cb_data;
static struct gpio_callback pin_iso_main_cb_data;
static struct gpio_callback pin_not_umb_on_cb_data;
static struct gpio_callback pin_not_motor_faila_cb_data;

#define GPIO_IN_THREAD_STACK_SIZE 512
#define GPIO_IN_THREAD_PRIORITY 5

K_THREAD_STACK_DEFINE(gpio_in_thread_stack, GPIO_IN_THREAD_STACK_SIZE);

struct k_thread gpio_in_thread_data;

enum ers_input_signals
{
	ERS_SIG_ISO_DROGUE,
	ERS_SIG_ISO_MAIN,
	ERS_SIG_NOT_UMB_ON,
	ERS_SIG_NOT_MOTOR_FAILA,
	ERS_NUM_GPIO_INPUTS
};

//----------------------------------------------------------------------
// - SECTION - routines
//----------------------------------------------------------------------

int32_t gpio_in_configure_iso_drogue(void)
{
        if (!gpio_is_ready_dt(&iso_drogue)) {
                printk("Error: iso_drogue device %s is not ready\n",
                       iso_drogue.port->name);
                return -EIO;
        }

        int32_t rc = gpio_pin_configure_dt(&iso_drogue, GPIO_INPUT);
        if (rc != 0) {
                printk("Error %d: failed to configure %s pin %d\n",
                       rc, iso_drogue.port->name, iso_drogue.pin);
                return -EINVAL;
        }

// TODO [ ] Review with hardware experts whether "EDGE TO ACTIVE" is the
//  best or correct condition to trigger an interrupt:
        rc = gpio_pin_interrupt_configure_dt(&iso_drogue,
                                              GPIO_INT_EDGE_TO_ACTIVE);
        if (rc != 0) {
                printk("Error %d: failed to configure interrupt on %s pin %d\n",
                        rc, iso_drogue.port->name, iso_drogue.pin);
                return -EINVAL;
        }

        return rc;
}

int32_t gpio_in_configure_iso_main(void)
{
        if (!gpio_is_ready_dt(&iso_main)) {
                printk("Error: iso_main device %s is not ready\n",
                       iso_main.port->name);
                return -EIO;
        }

        int32_t rc = gpio_pin_configure_dt(&iso_main, GPIO_INPUT);
        if (rc != 0) {
                printk("Error %d: failed to configure %s pin %d\n",
                       rc, iso_main.port->name, iso_main.pin);
                return -EINVAL;
        }

// TODO [ ] Review with hardware experts whether "EDGE TO ACTIVE" is the
//  best or correct condition to trigger an interrupt:
        rc = gpio_pin_interrupt_configure_dt(&iso_main,
                                              GPIO_INT_EDGE_TO_ACTIVE);
        if (rc != 0) {
                printk("Error %d: failed to configure interrupt on %s pin %d\n",
                        rc, iso_main.port->name, iso_main.pin);
                return -EINVAL;
        }

        return rc;
}

int32_t gpio_in_configure_not_umb_on(void)
{
        if (!gpio_is_ready_dt(&not_umb_on)) {
                printk("Error: not_umb_on device %s is not ready\n",
                       not_umb_on.port->name);
                return -EIO;
        }

        int32_t rc = gpio_pin_configure_dt(&not_umb_on, GPIO_INPUT);
        if (rc != 0) {
                printk("Error %d: failed to configure %s pin %d\n",
                       rc, not_umb_on.port->name, not_umb_on.pin);
                return -EINVAL;
        }

// TODO [ ] Review with hardware experts whether "EDGE TO ACTIVE" is the
//  best or correct condition to trigger an interrupt:
        rc = gpio_pin_interrupt_configure_dt(&not_umb_on,
                                              GPIO_INT_EDGE_TO_ACTIVE);
        if (rc != 0) {
                printk("Error %d: failed to configure interrupt on %s pin %d\n",
                        rc, not_umb_on.port->name, not_umb_on.pin);
                return -EINVAL;
        }

        return rc;
}

int32_t gpio_in_configure_not_motor_faila(void)
{
        if (!gpio_is_ready_dt(&not_motor_faila)) {
                printk("Error: not_motor_faila device %s is not ready\n",
                       not_motor_faila.port->name);
                return -EIO;
        }

        int32_t rc = gpio_pin_configure_dt(&not_motor_faila, GPIO_INPUT);
        if (rc != 0) {
                printk("Error %d: failed to configure %s pin %d\n",
                       rc, not_motor_faila.port->name, not_motor_faila.pin);
                return -EINVAL;
        }

// TODO [ ] Review with hardware experts whether "EDGE TO ACTIVE" is the
//  best or correct condition to trigger an interrupt:
        rc = gpio_pin_interrupt_configure_dt(&not_motor_faila,
                                              GPIO_INT_EDGE_TO_ACTIVE);
        if (rc != 0) {
                printk("Error %d: failed to configure interrupt on %s pin %d\n",
                        rc, not_motor_faila.port->name, not_motor_faila.pin);
                return -EINVAL;
        }

        return rc;
}

void gpio_in_thread_entry(void *arg1, void *arg2, void *arg3)
{
        ARG_UNUSED(arg1);
        ARG_UNUSED(arg2);
        ARG_UNUSED(arg3);

	uint32_t val[ERS_NUM_GPIO_INPUTS] = {0};
	int32_t rc = 0;

	while (1)
	{
		// LOG_INF("gpio_in stub");

		val[ERS_SIG_ISO_DROGUE] = gpio_pin_get_dt(&iso_drogue);
		val[ERS_SIG_ISO_MAIN] = gpio_pin_get_dt(&iso_main);
		val[ERS_SIG_NOT_UMB_ON] = gpio_pin_get_dt(&not_umb_on);
		val[ERS_SIG_NOT_MOTOR_FAILA] = gpio_pin_get_dt(&not_motor_faila);

		ek_get_sys_diag_mode(&rc);
		if (rc > 0)
		{
			LOG_INF("drogue, main, umb, motor_fail: %d, %d, %d, %d",
				val[ERS_SIG_ISO_DROGUE],
				val[ERS_SIG_ISO_MAIN],
				val[ERS_SIG_NOT_UMB_ON],
				val[ERS_SIG_NOT_MOTOR_FAILA]
				);
		}

		k_msleep(ERS_GPIO_THREAD_SLEEP_MS);
	}
}

int32_t ers_init_gpio_in(void)
{
        int32_t rc = 0;

	rc = gpio_in_configure_iso_drogue();
	if (rc)
	{
		LOG_ERR("Failed to configure GPIO for iso_drogue signal in, err %d", rc);
		return rc;
	}
	rc = gpio_in_configure_iso_main();
	if (rc)
	{
		LOG_ERR("Failed to configure GPIO for iso_main signal in, err %d", rc);
		return rc;
	}
	rc = gpio_in_configure_not_umb_on();
	if (rc)
	{
		LOG_ERR("Failed to configure GPIO for not_umb_on signal in, err %d", rc);
		return rc;
	}
	rc = gpio_in_configure_not_motor_faila();
	if (rc)
	{
		LOG_ERR("Failed to configure GPIO for not_motor_faila signal in, err %d", rc);
		return rc;
	}

        k_tid_t gpio_in_tid = k_thread_create(&gpio_in_thread_data,
                                 gpio_in_thread_stack,
                                 K_THREAD_STACK_SIZEOF(gpio_in_thread_stack),
                                 gpio_in_thread_entry, NULL, NULL, NULL,
                                 GPIO_IN_THREAD_PRIORITY, 0, K_NO_WAIT);
        if (!gpio_in_tid) {
                LOG_ERR("ERROR spawning shell support thread\n");
        }

        return rc;
}
```
